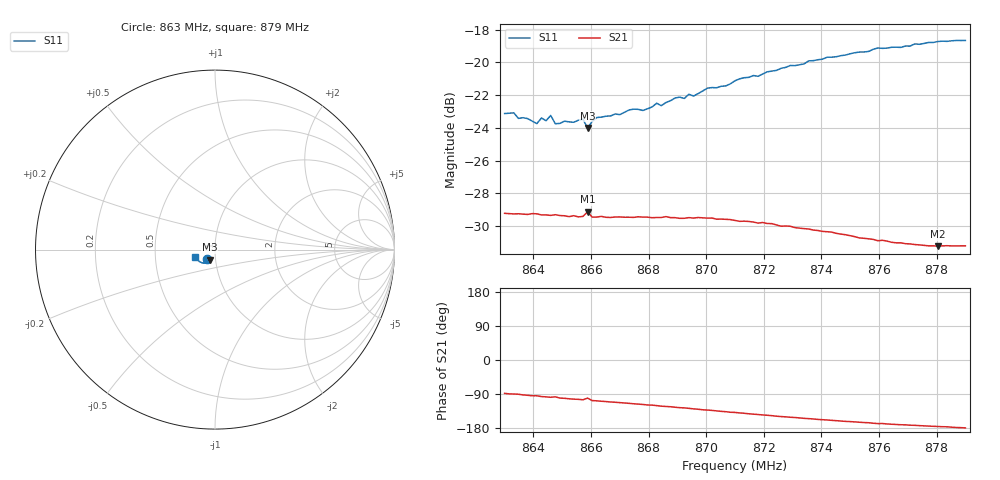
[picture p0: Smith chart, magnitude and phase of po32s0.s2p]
# HZ S RI R 50
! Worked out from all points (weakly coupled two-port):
!   101 points, 863 MHz to 879 MHz, reference 50 ohm
!   highest |S21| = -29.13 dB at 865.88 MHz (marker M1); lowest = -31.2 dB at 878.04 MHz (marker M2)
!   lowest |S11| = -24.0 dB at 865.88 MHz (marker M3), VSWR 1.13, Z = 46.8 - j5.22 ohm
!   |S11| at or under -10 dB: start of sweep to end of sweep
!   S12 and S22 are empty: the file has one direction only
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8.63e8  -0.0442 -0.054  0.00122 -0.0346  0 0  0 0
8.6332e8  -0.0439 -0.0548  0.000146 -0.0345  0 0  0 0
8.6348e8  -0.041 -0.0536  -0.000214 -0.0345  0 0  0 0
8.6412e8  -0.0373 -0.0533  -0.00265 -0.0344  0 0  0 0
8.6428e8  -0.0388 -0.0555  -0.00389 -0.034  0 0  0 0
8.6444e8  -0.0397 -0.0532  -0.00432 -0.0339  0 0  0 0
8.646e8  -0.0418 -0.0548  -0.00495 -0.0337  0 0  0 0
8.6476e8  -0.0356 -0.0544  -0.00427 -0.034  0 0  0 0
8.6572e8  -0.0351 -0.0572  -0.00875 -0.0327  0 0  0 0
8.6588e8  -0.0299 -0.0555  -0.00642 -0.0344  0 0  0 0
8.662e8  -0.0351 -0.0581  -0.0103 -0.0321  0 0  0 0
8.678e8  -0.0343 -0.0626  -0.0155 -0.0299  0 0  0 0
8.6828e8  -0.0361 -0.0658  -0.017 -0.029  0 0  0 0
8.6844e8  -0.0361 -0.0644  -0.0177 -0.0286  0 0  0 0
8.6892e8  -0.0385 -0.0677  -0.0191 -0.0276  0 0  0 0
8.6956e8  -0.0388 -0.0688  -0.021 -0.026  0 0  0 0
8.7004e8  -0.0425 -0.0719  -0.0224 -0.0248  0 0  0 0
8.71e8  -0.0474 -0.074  -0.0246 -0.0219  0 0  0 0
8.7372e8  -0.0679 -0.0752  -0.028 -0.0127  0 0  0 0
8.7644e8  -0.0928 -0.0615  -0.0278 -0.00512  0 0  0 0
8.7804e8  -0.1046 -0.0497  -0.0274 -0.00219  0 0  0 0
8.79e8  -0.1101 -0.0389  -0.0275 -0.000375  0 0  0 0
